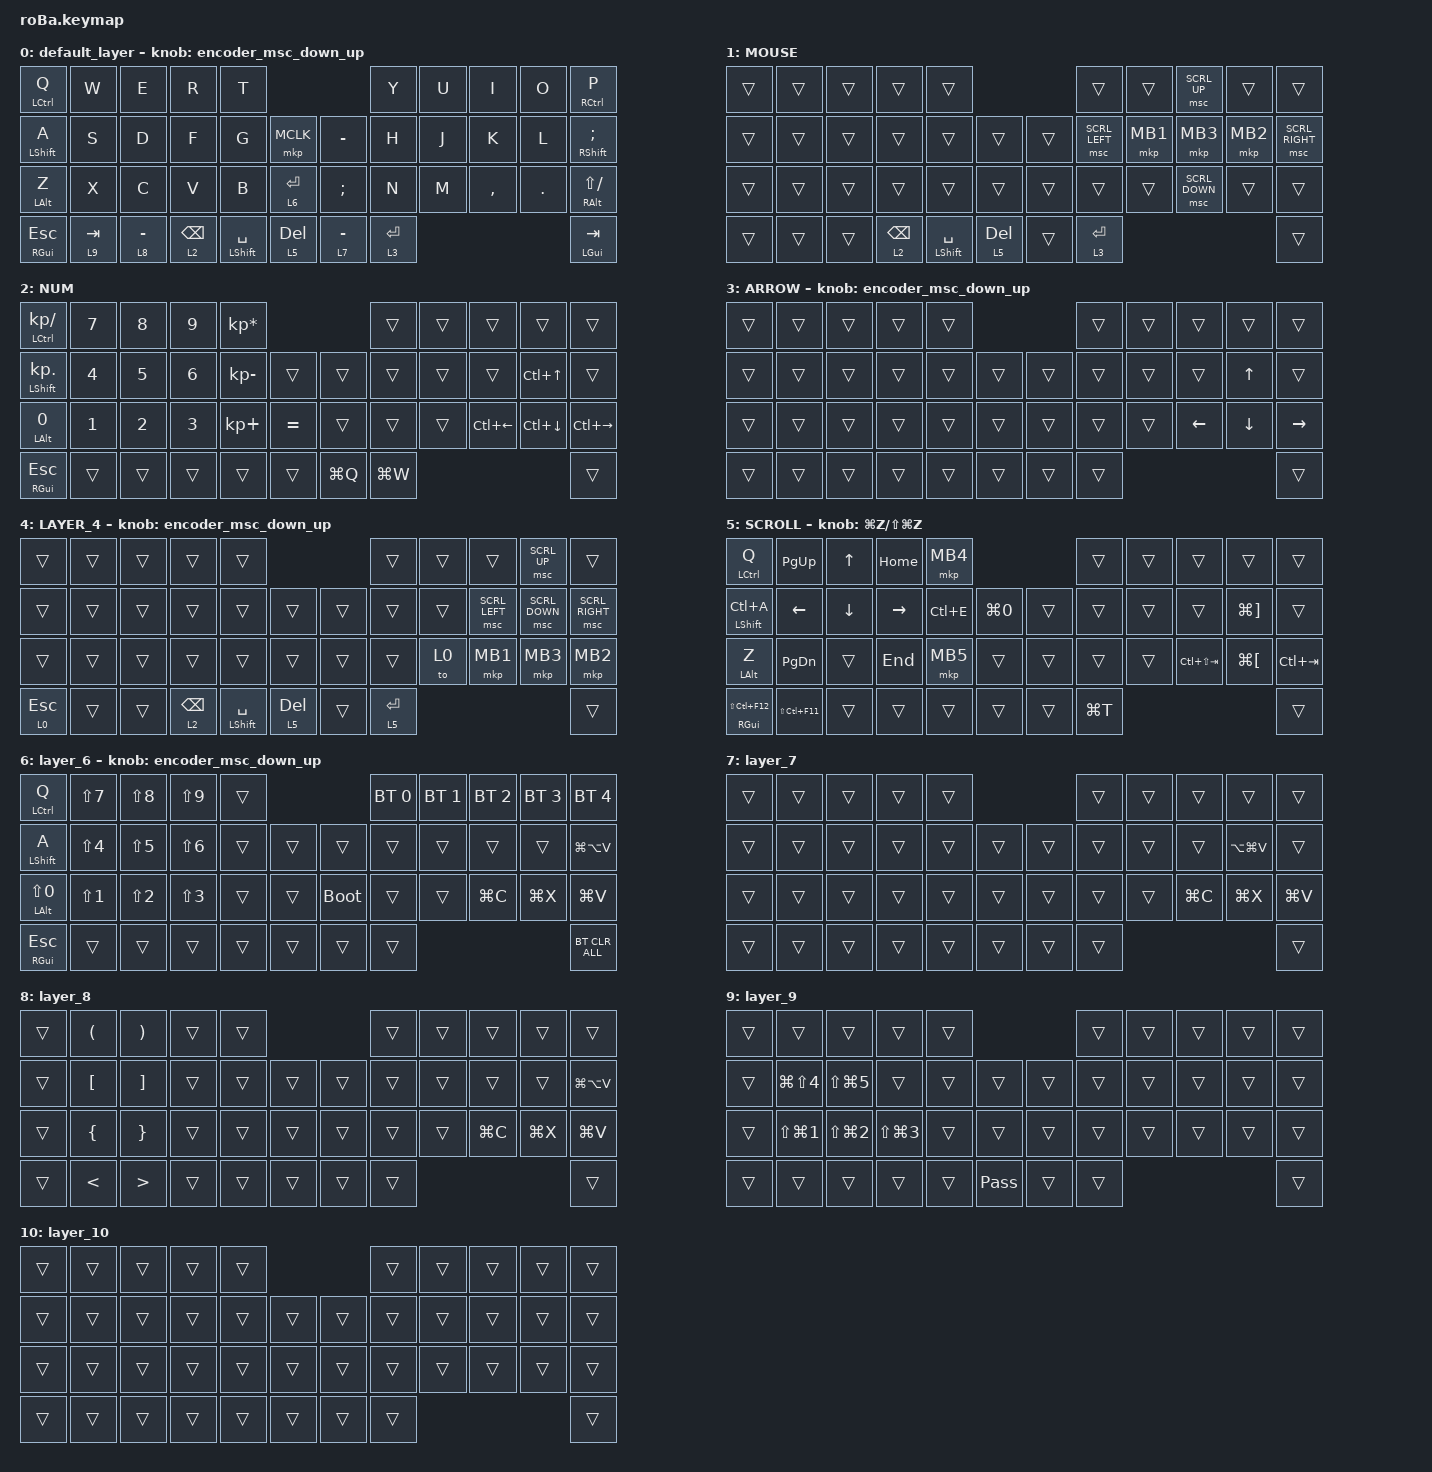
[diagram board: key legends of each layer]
#include <behaviors/mouse_keys.dtsi>
#include <behaviors.dtsi>
#include <dt-bindings/zmk/bt.h>
#include <dt-bindings/zmk/keys.h>
#include <dt-bindings/zmk/pointing.h>

#define ZMK_POINTING_DEFAULT_SCRL_VAL 100

&mt {
    flavor = "balanced";
    quick-tap-ms = <200>;
    tapping-term-ms = <200>;
};

&lt {
    flavor = "balanced";
    quick-tap-ms = <200>;
    tapping-term-ms = <200>;
};

&trackball {
    automouse-layer = <1>;
    scroll-layers = <5>;

    // arrows {
    //     layers = <3>;
    //     bindings =
    //         <&kp RIGHT_ARROW>,
    //         <&kp LEFT_ARROW>,
    //         <&kp UP_ARROW>,
    //         <&kp DOWN_ARROW>;
    //     tick = <10>;
    //     wait-ms = <5>;
    //     tap-ms = <5>;
    // };
};

/ {
    combos {
        compatible = "zmk,combos";

        tab {
            bindings = <&kp TAB>;
            key-positions = <11 12>;
        };

        shift_tab {
            bindings = <&kp LS(TAB)>;
            key-positions = <12 13>;
        };
    };

    macros {
        to_layer_0: to_layer_0 {
            compatible = "zmk,behavior-macro-one-param";
            #binding-cells = <1>;
            bindings = <&to 0 &macro_param_1to1 &kp MACRO_PLACEHOLDER>;
            label = "TO_LAYER_0";
        };

        Pass: Pass {
            compatible = "zmk,behavior-macro";
            #binding-cells = <0>;
            bindings = <&kp N2 &kp N0 &kp N1 &kp N8 &kp N0 &kp N7 &kp N1 &kp N3 &kp LS(M) &kp A &kp C>;
            label = "PASS";
        };
    };

    behaviors {
        lt_to_layer_0: lt_to_layer_0 {
            compatible = "zmk,behavior-hold-tap";
            label = "LAYER_TAP_TO_0";
            bindings = <&mo>, <&to_layer_0>;

            #binding-cells = <2>;
            tapping-term-ms = <200>;
        };

        encoder_msc_down_up: encoder_msc_down_up {
            compatible = "zmk,behavior-sensor-rotate";
            label = "ENCODER_MSC_DOWN_UP";
            #sensor-binding-cells = <0>;
            bindings = <&msc SCRL_DOWN>, <&msc SCRL_UP>;

            tap-ms = <20>;
        };
    };

    keymap {
        compatible = "zmk,keymap";

        default_layer {
            bindings = <
&mt LCTRL Q           &kp W      &kp E        &kp R            &kp T                                                  &kp Y        &kp U  &kp I      &kp O    &mt RCTRL P
&mt LEFT_SHIFT A      &kp S      &kp D        &kp F            &kp G                 &mkp MCLK         &kp MINUS      &kp H        &kp J  &kp K      &kp L    &mt RIGHT_SHIFT SEMICOLON
&mt LEFT_ALT Z        &kp X      &kp C        &kp V            &kp B                 &lt 6 ENTER       &kp SEMICOLON  &kp N        &kp M  &kp COMMA  &kp DOT  &mt RIGHT_ALT LS(SLASH)
&mt RIGHT_GUI ESCAPE  &lt 9 TAB  &lt 8 MINUS  &lt 2 BACKSPACE  &mt LEFT_SHIFT SPACE  &lt 5 DELETE      &lt 7 MINUS    &lt 3 ENTER                             &mt LEFT_GUI TAB
            >;

            sensor-bindings = <&encoder_msc_down_up>;
        };

        MOUSE {
            bindings = <
&trans  &trans  &trans  &trans           &trans                                  &trans          &trans    &msc SCRL_UP    &trans    &trans
&trans  &trans  &trans  &trans           &trans           &trans         &trans  &msc SCRL_LEFT  &mkp MB1  &mkp MB3        &mkp MB2  &msc SCRL_RIGHT
&trans  &trans  &trans  &trans           &trans           &trans         &trans  &trans          &trans    &msc SCRL_DOWN  &trans    &trans
&trans  &trans  &trans  &lt 2 BACKSPACE  &mt LSHFT SPACE  &lt 5 DEL      &trans  &lt 3 ENTER                                         &trans
            >;
        };

        NUM {
            bindings = <
&mt LCTRL KP_SLASH    &kp N7  &kp N8  &kp N9  &kp KP_ASTERISK                            &trans     &trans  &trans              &trans              &trans
&mt LSHFT KP_DOT      &kp N4  &kp N5  &kp N6  &kp KP_MINUS     &trans         &trans     &trans     &trans  &trans              &kp LC(UP_ARROW)    &trans
&mt LEFT_ALT N0       &kp N1  &kp N2  &kp N3  &kp KP_PLUS      &kp EQUAL      &trans     &trans     &trans  &kp LC(LEFT_ARROW)  &kp LC(DOWN_ARROW)  &kp LC(RIGHT_ARROW)
&mt RIGHT_GUI ESCAPE  &trans  &trans  &trans  &trans           &trans         &kp LG(Q)  &kp LG(W)                                                  &trans
            >;
        };

        ARROW {
            bindings = <
&trans  &trans  &trans  &trans  &trans                      &trans  &trans  &trans          &trans          &trans
&trans  &trans  &trans  &trans  &trans  &trans      &trans  &trans  &trans  &trans          &kp UP_ARROW    &trans
&trans  &trans  &trans  &trans  &trans  &trans      &trans  &trans  &trans  &kp LEFT_ARROW  &kp DOWN_ARROW  &kp RIGHT_ARROW
&trans  &trans  &trans  &trans  &trans  &trans      &trans  &trans                                          &trans
            >;

            sensor-bindings = <&encoder_msc_down_up>;
        };

        LAYER_4 {
            bindings = <
&trans        &trans  &trans  &trans           &trans                                       &trans       &trans  &trans          &msc SCRL_UP    &trans
&trans        &trans  &trans  &trans           &trans                &trans         &trans  &trans       &trans  &msc SCRL_LEFT  &msc SCRL_DOWN  &msc SCRL_RIGHT
&trans        &trans  &trans  &trans           &trans                &trans         &trans  &trans       &to 0   &mkp MB1        &mkp MB3        &mkp MB2
&lt 0 ESCAPE  &trans  &trans  &lt 2 BACKSPACE  &mt LEFT_SHIFT SPACE  &lt 5 DEL      &trans  &lt 5 ENTER                                          &trans
            >;

            sensor-bindings = <&encoder_msc_down_up>;
        };

        SCROLL {
            bindings = <
&mt LCTRL Q                &kp PAGE_UP      &kp UP_ARROW  &kp HOME   &mkp MB4                           &trans     &trans  &trans           &trans                 &trans
&mt LSHFT LC(A)            &kp LEFT         &kp DOWN      &kp RIGHT  &kp LC(E)  &kp LG(N0)      &trans  &trans     &trans  &trans           &kp LG(RIGHT_BRACKET)  &trans
&mt LEFT_ALT Z             &kp PAGE_DOWN    &trans        &kp END    &mkp MB5   &trans          &trans  &trans     &trans  &kp LC(LS(TAB))  &kp LG(LEFT_BRACKET)   &kp LC(TAB)
&mt RIGHT_GUI LS(LC(F12))  &kp LS(LC(F11))  &trans        &trans     &trans     &trans          &trans  &kp LG(T)                                                  &trans
            >;

            sensor-bindings = <&inc_dec_kp LG(Z) LS(LG(Z))>;
        };

        layer_6 {
            bindings = <
&mt LCTRL Q           &kp LS(N7)        &kp LS(N8)        &kp LS(N9)        &trans                           &bt BT_SEL 0  &bt BT_SEL 1  &bt BT_SEL 2  &bt BT_SEL 3  &bt BT_SEL 4
&mt LSHFT A           &kp LS(NUMBER_4)  &kp LS(N5)        &kp LS(NUMBER_6)  &trans  &trans      &trans       &trans        &trans        &trans        &trans        &kp LG(LA(V))
&mt LEFT_ALT LS(N0)   &kp LS(NUMBER_1)  &kp LS(NUMBER_2)  &kp LS(NUMBER_3)  &trans  &trans      &bootloader  &trans        &trans        &kp LG(C)     &kp LG(X)     &kp LG(V)
&mt RIGHT_GUI ESCAPE  &trans            &trans            &trans            &trans  &trans      &trans       &trans                                                  &bt BT_CLR_ALL
            >;

            sensor-bindings = <&encoder_msc_down_up>;
        };

        layer_7 {
            bindings = <
&trans  &trans  &trans  &trans  &trans                      &trans  &trans  &trans     &trans         &trans
&trans  &trans  &trans  &trans  &trans  &trans      &trans  &trans  &trans  &trans     &kp LA(LG(V))  &trans
&trans  &trans  &trans  &trans  &trans  &trans      &trans  &trans  &trans  &kp LG(C)  &kp LG(X)      &kp LG(V)
&trans  &trans  &trans  &trans  &trans  &trans      &trans  &trans                                    &trans
            >;
        };

        layer_8 {
            bindings = <
&trans  &kp LEFT_PARENTHESIS  &kp RIGHT_PARENTHESIS  &trans  &trans                      &trans  &trans  &trans     &trans     &trans
&trans  &kp LEFT_BRACKET      &kp RIGHT_BRACKET      &trans  &trans  &trans      &trans  &trans  &trans  &trans     &trans     &kp LG(LA(V))
&trans  &kp LEFT_BRACE        &kp RIGHT_BRACE        &trans  &trans  &trans      &trans  &trans  &trans  &kp LG(C)  &kp LG(X)  &kp LG(V)
&trans  &kp LESS_THAN         &kp GREATER_THAN       &trans  &trans  &trans      &trans  &trans                                &trans
            >;
        };

        layer_9 {
            bindings = <
&trans  &trans                &trans                &trans                &trans                      &trans  &trans  &trans  &trans  &trans
&trans  &kp LG(LS(NUMBER_4))  &kp LS(LG(N5))        &trans                &trans  &trans      &trans  &trans  &trans  &trans  &trans  &trans
&trans  &kp LS(LG(NUMBER_1))  &kp LS(LG(NUMBER_2))  &kp LS(LG(NUMBER_3))  &trans  &trans      &trans  &trans  &trans  &trans  &trans  &trans
&trans  &trans                &trans                &trans                &trans  &Pass       &trans  &trans                          &trans
            >;
        };

        layer_10 {
            bindings = <
&trans  &trans  &trans  &trans  &trans                      &trans  &trans  &trans  &trans  &trans
&trans  &trans  &trans  &trans  &trans  &trans      &trans  &trans  &trans  &trans  &trans  &trans
&trans  &trans  &trans  &trans  &trans  &trans      &trans  &trans  &trans  &trans  &trans  &trans
&trans  &trans  &trans  &trans  &trans  &trans      &trans  &trans                          &trans
            >;
        };
    };
};
